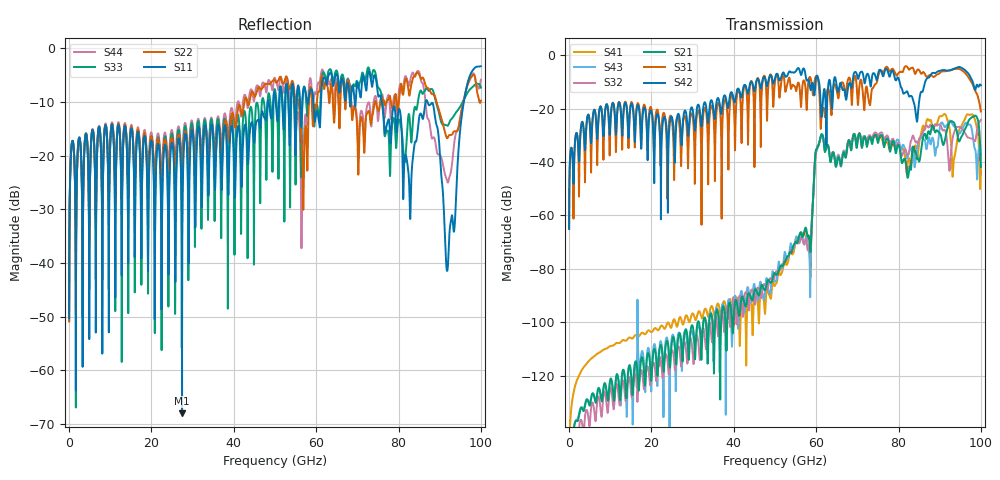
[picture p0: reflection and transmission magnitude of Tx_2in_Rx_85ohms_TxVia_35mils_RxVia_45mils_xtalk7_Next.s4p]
! Info: Touchstone file created by Circ.  Input file=Tx_2in_Rx_85ohms_TxVia_35mils_RxVia_45mils.circ
# Hz S RI R 50
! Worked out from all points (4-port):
!   10000 points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, 10 MHz to 100 GHz, reference 50 ohm
!   strongest paths, dB at 10 MHz, 25.01 GHz, 50.01 GHz, 75.01 GHz, 100 GHz:
!     S42: -65.0, -23.3, -8.5, -7.1, -11.3
!     S31: -65.1, -24.8, -9.8, -8.3, -21.1
!     S21: -175.0, -107.0, -81.7, -32.9, -41.9
!     S32: -179.5, -110.5, -82.2, -30.5, -24.2
!     S43: -174.7, -105.2, -84.7, -29.6, -37.1
!     S41: -161.9, -101.0, -86.2, -31.6, -41.3
!   lowest |S11| = -68.0 dB at 27.44 GHz (marker M1), VSWR 1.00, Z = 50 + j0.0162 ohm
!   |S11| at or under -10 dB: start of sweep to 48.21 GHz; 75.93 GHz to 86.56 GHz (10.63 GHz wide, 13.1 % of centre); 87.03 GHz to 95.85 GHz (8.819 GHz wide, 9.65 % of centre)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
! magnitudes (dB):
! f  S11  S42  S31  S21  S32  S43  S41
! 10 MHz  -50.2  -65.0  -65.1  -175.0  -179.5  -174.7  -161.9
! 27.44 GHz  -68.0  -30.8  -29.9  -112.8  -112.6  -116.8  -100.0
! 58.3 GHz  -8.8  -9.9  -8.4  -68.1  -71.3  -74.2  -69.1
! 61.04 GHz  -12.7  -16.3  -25.7  -30.7  -30.9  -31.2  -31.0
! 72.89 GHz  -4.3  -8.6  -17.9  -30.8  -29.9  -30.3  -31.0
! 91.81 GHz  -41.5  -5.8  -5.9  -27.7  -32.9  -25.9  -24.0
! 100 GHz  -3.3  -11.3  -21.1  -41.9  -24.2  -37.1  -41.3
